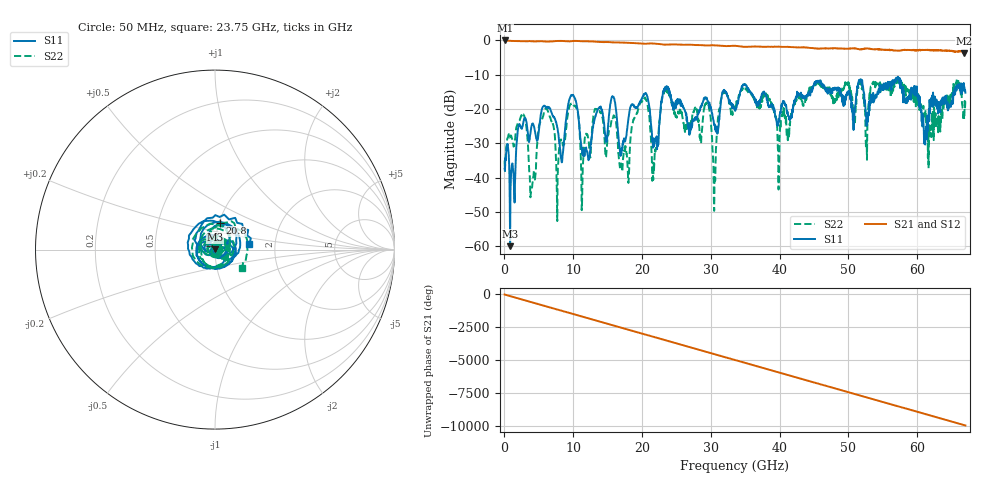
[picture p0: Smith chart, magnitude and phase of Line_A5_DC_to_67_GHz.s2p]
#  HZ  S  MA  R  50.00
! Rohde & Schwarz ZVA67 4Ports - Version 4.11 - 1305.7002k04 SN: 101051
! Date: 2023-05-31 14:27:57
! Measurements: S11 S21 S12 S22
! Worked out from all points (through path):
!   1340 points, 50 MHz to 67 GHz, reference 50 ohm
!   highest |S21| = -0.08 dB at 100 MHz (marker M1); lowest = -3.9 dB at 66.85 GHz (marker M2)
!   group delay of S21, straight-line fit = 411 ps
!   lowest |S11| = -60.0 dB at 850 MHz (marker M3), VSWR 1.00, Z = 49.9 + j0.0853 ohm
!   |S11| at or under -10 dB: start of sweep to end of sweep
!   |S22| runs from -52.6 to -11.0 dB; largest |S21 - S12| = 0.28
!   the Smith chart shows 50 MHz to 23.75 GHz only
!   S11 on the Smith chart (normalised r, x): 50 MHz: 1.03, +0.01; 20.8 GHz: 1.01, +0.31; 23.75 GHz: 1.47, +0.09
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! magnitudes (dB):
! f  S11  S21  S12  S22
! 50 MHz  -37.4  -0.1  -0.1  -35.0
! 100 MHz  -38.0  -0.1  -0.1  -38.1
! 850 MHz  -60.0  -0.2  -0.2  -28.1
! 2.85 GHz  -23.2  -0.3  -0.3  -21.9
! 4.05 GHz  -24.3  -0.3  -0.3  -42.8
! 5.95 GHz  -19.3  -0.4  -0.4  -20.1
! 8.35 GHz  -35.6  -0.2  -0.2  -29.3
! 10 GHz  -15.9  -0.2  -0.2  -18.7
! 11.25 GHz  -31.8  -0.3  -0.3  -49.5
! 20.8 GHz  -16.4  -1.0  -1.0  -18.5
! 22.4 GHz  -30.4  -1.1  -1.1  -27.5
! 23.75 GHz  -14.2  -1.3  -1.3  -14.8
! 29.5 GHz  -17.4  -1.5  -1.5  -18.7
! 30.5 GHz  -24.8  -1.5  -1.4  -49.7
! 31.65 GHz  -15.8  -1.7  -1.6  -16.0
! 33.55 GHz  -20.6  -1.6  -1.7  -19.2
! 39.9 GHz  -22.9  -1.9  -1.9  -37.4
! 44.7 GHz  -14.1  -2.3  -2.3  -14.0
! 55.85 GHz  -13.0  -2.8  -2.8  -14.4
! 61.25 GHz  -26.7  -2.9  -2.9  -23.8
! 66.85 GHz  -13.6  -3.9  -3.8  -22.9
! 67 GHz  -15.3  -3.7  -3.6  -17.5
